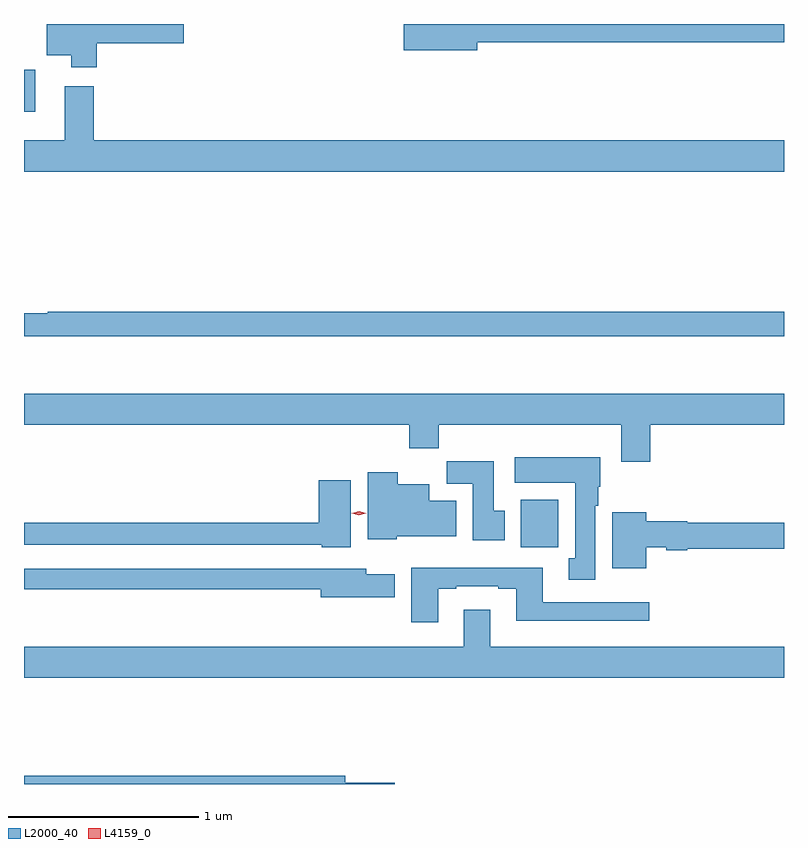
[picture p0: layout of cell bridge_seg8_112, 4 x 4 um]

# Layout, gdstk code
import gdstk
lib = gdstk.Library(unit=1e-6, precision=1e-09)
def R(c, l, rs):  # rectangles x0, y0, x1, y1
    for r in rs: c.add(gdstk.rectangle(r[:2], r[2:], *l))
def P(c, l, *ps):  # polygons
    for p in ps: c.add(gdstk.Polygon(p, *l))
L2000_40 = (2000, 40)
L4159_0 = (4159, 0)

bridge_seg8_112 = lib.new_cell('bridge_seg8_112')
R(bridge_seg8_112, L2000_40, [(827.291,1130.508,827.487,1130.758), (824.676,1132.8,824.734,1133.019)])
P(bridge_seg8_112, L2000_40, [(825.059,1133.159),(825.517,1133.159),(825.517,1133.261),(824.795,1133.261),(824.795,1133.096),(824.924,1133.096),(824.924,1133.034),(825.059,1133.034)],
  [(827.062,1133.164),(828.676,1133.164),(828.676,1133.261),(826.674,1133.261),(826.674,1133.122),(827.062,1133.122)],
  [(828.676,1132.648),(825.044,1132.648),(825.044,1132.933),(824.891,1132.933),(824.891,1132.648),(824.676,1132.648),(824.676,1132.484),(828.676,1132.484)],
  [(828.676,1131.746),(824.801,1131.746),(824.801,1131.739),(824.676,1131.739),(824.676,1131.618),(828.676,1131.618)],
  [(827.972,1131.152),(828.676,1131.152),(828.676,1131.316),(824.676,1131.316),(824.676,1131.152),(826.703,1131.152),(826.703,1131.028),(826.859,1131.028),(826.859,1131.152),(827.819,1131.152),(827.819,1130.958),(827.972,1130.958)],
  [(827.683,1130.726),(827.698,1130.726),(827.698,1130.826),(827.71,1130.826),(827.71,1130.98),(827.259,1130.98),(827.259,1130.846),(827.576,1130.846),(827.576,1130.449),(827.543,1130.449),(827.543,1130.337),(827.683,1130.337)],
  [(827.206,1130.7),(827.149,1130.7),(827.149,1130.959),(826.9,1130.959),(826.9,1130.84),(827.039,1130.84),(827.039,1130.544),(827.206,1130.544)],
  [(826.638,1130.564),(826.951,1130.564),(826.951,1130.752),(826.81,1130.752),(826.81,1130.839),(826.642,1130.839),(826.642,1130.902),(826.484,1130.902),(826.484,1130.549),(826.638,1130.549)],
  [(826.396,1130.86),(826.226,1130.86),(826.226,1130.636),(824.676,1130.636),(824.676,1130.52),(826.242,1130.52),(826.242,1130.507),(826.396,1130.507)],
  [(827.95,1130.507),(828.057,1130.507),(828.057,1130.492),(828.168,1130.492),(828.168,1130.5),(828.676,1130.5),(828.676,1130.636),(828.168,1130.636),(828.168,1130.644),(827.95,1130.644),(827.95,1130.692),(827.771,1130.692),(827.771,1130.396),(827.95,1130.396)],
  [(826.855,1130.289),(826.951,1130.289),(826.951,1130.301),(827.171,1130.301),(827.171,1130.289),(827.267,1130.289),(827.267,1130.12),(827.968,1130.12),(827.968,1130.217),(827.407,1130.217),(827.407,1130.398),(826.715,1130.398),(826.715,1130.112),(826.855,1130.112)],
  [(826.627,1130.365),(826.477,1130.365),(826.477,1130.394),(824.676,1130.394),(824.676,1130.286),(826.238,1130.286),(826.238,1130.243),(826.627,1130.243)],
  [(828.676,1129.984),(827.131,1129.984),(827.131,1130.179),(826.991,1130.179),(826.991,1129.984),(824.676,1129.984),(824.676,1129.82),(828.676,1129.82)],
  [(826.627,1129.268),(826.366,1129.268),(826.366,1129.304),(824.676,1129.304),(824.676,1129.261),(826.627,1129.261)])
P(bridge_seg8_112, L4159_0, [(826.439,1130.676),(826.401,1130.686),(826.401,1130.686),(826.401,1130.686),(826.44,1130.696),(826.478,1130.686),(826.478,1130.686),(826.478,1130.686)])

lib.write_gds('bridge_seg8_112.gds')
